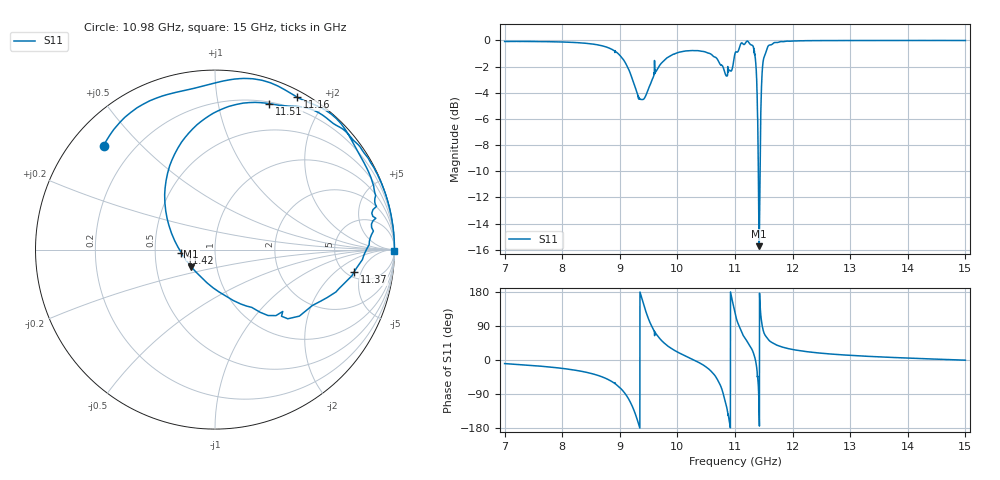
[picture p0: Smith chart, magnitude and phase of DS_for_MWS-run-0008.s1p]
! TOUCHSTONE file generated by CST DESIGN STUDIO
! Date and time: Mon Feb 10 16:47:01 2025
! Project name: C:\Work\MatlabApps\UnitCellType2OptimizationMatlab\CST\unitcell.cst
! Tree item: Tasks\Sweep1\SPara1\S-Parameters
! Header version: 2024
! Port assignment regex: !\s*Touchstone port\s*([0-9]+)\s*=\s*(CST MWS port|CST DES external port|CST DES block port)\s*(.+)\s* \(\"(.*)\"\)(\s*mode\s*([0-9]+))?.*
! Touchstone port assignment:
! Touchstone port 1 = CST DES external port 1 ("")
# GHz S MA R 50
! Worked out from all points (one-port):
!   4001 points, 7 GHz to 15 GHz, reference 50 ohm
!   lowest |S11| = -15.7 dB at 11.42 GHz (marker M1), VSWR 1.39, Z = 37.6 - j7.32 ohm
!   |S11| at or under -10 dB: 11.40508 GHz to 11.4338 GHz (28.71 MHz wide, 0.251 % of centre)
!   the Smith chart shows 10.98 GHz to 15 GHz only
!   S11 on the Smith chart (normalised r, x): 10.98 GHz: 0.09, +0.39; 11.16 GHz: 0.07, +1.67; 11.37 GHz: 5.76, -3.76; 11.42 GHz: 0.68, -0.03; 11.51 GHz: 0.22, +1.41; 15 GHz: open
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7  0.9912 -9.4
8  0.9862 -22.1
8.644  0.9595 -41.8
9  0.8776 -72.8
9.186  0.7449 -112.3
9.356  0.5961 176.3
9.576  0.7217 82.8
9.766  0.8369 45.4
10  0.8973 21.2
10.542  0.8943 -23.5
10.678  0.8566 -47.2
10.784  0.799 -82.8
10.902  0.7703 -162.5
10.982  0.849 137.0
11  0.8921 124.3
11.068  0.9252 90.8
11.156  0.9649 61.6
11.306  0.9555 24.1
11.366  0.7842 -9.2
11.42  0.1636 -144.6
11.424  0.1878 -174.4
11.456  0.6274 107.3
11.508  0.8672 69.7
11.656  0.9717 44.9
12  0.996 27.8
13  0.9993 12.3
14  0.9999 5.1
15  0.9996 -0.5
